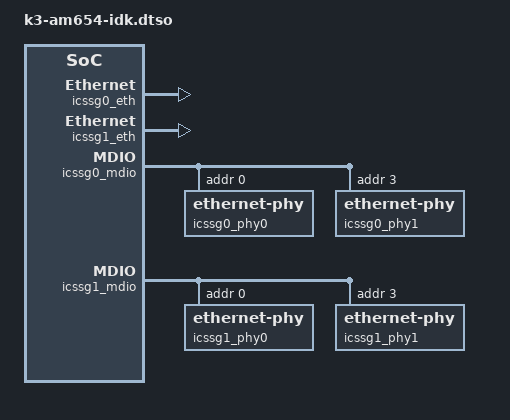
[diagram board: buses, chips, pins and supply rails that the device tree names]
// SPDX-License-Identifier: GPL-2.0
/**
 * DT overlay for IDK application board on AM654 EVM
 *
 * Copyright (C) 2018-2023 Texas Instruments Incorporated - https://www.ti.com/
 */

/dts-v1/;
/plugin/;

#include <dt-bindings/net/ti-dp83867.h>
#include "k3-pinctrl.h"

&{/} {
	aliases {
		ethernet3 = "/icssg0-eth/ethernet-ports/port@0";
		ethernet4 = "/icssg0-eth/ethernet-ports/port@1";
		ethernet5 = "/icssg1-eth/ethernet-ports/port@0";
		ethernet6 = "/icssg1-eth/ethernet-ports/port@1";
	};

	/* Ethernet node on PRU-ICSSG0 */
	icssg0_eth: icssg0-eth {
		compatible = "ti,am654-icssg-prueth";
		pinctrl-names = "default";
		pinctrl-0 = <&icssg0_rgmii_pins_default>;
		sram = <&msmc_ram>;
		ti,prus = <&pru0_0>, <&rtu0_0>, <&tx_pru0_0>, <&pru0_1>, <&rtu0_1>, <&tx_pru0_1>;
		firmware-name = "ti-pruss/am65x-sr2-pru0-prueth-fw.elf",
				"ti-pruss/am65x-sr2-rtu0-prueth-fw.elf",
				"ti-pruss/am65x-sr2-txpru0-prueth-fw.elf",
				"ti-pruss/am65x-sr2-pru1-prueth-fw.elf",
				"ti-pruss/am65x-sr2-rtu1-prueth-fw.elf",
				"ti-pruss/am65x-sr2-txpru1-prueth-fw.elf";

		ti,pruss-gp-mux-sel = <2>,	/* MII mode */
				      <2>,
				      <2>,
				      <2>,	/* MII mode */
				      <2>,
				      <2>;

		ti,mii-g-rt = <&icssg0_mii_g_rt>;
		ti,mii-rt = <&icssg0_mii_rt>;
		ti,iep = <&icssg0_iep0>,  <&icssg0_iep1>;

		interrupt-parent = <&icssg0_intc>;
		interrupts = <24 0 2>, <25 1 3>;
		interrupt-names = "tx_ts0", "tx_ts1";

		dmas = <&main_udmap 0xc100>, /* egress slice 0 */
		       <&main_udmap 0xc101>, /* egress slice 0 */
		       <&main_udmap 0xc102>, /* egress slice 0 */
		       <&main_udmap 0xc103>, /* egress slice 0 */
		       <&main_udmap 0xc104>, /* egress slice 1 */
		       <&main_udmap 0xc105>, /* egress slice 1 */
		       <&main_udmap 0xc106>, /* egress slice 1 */
		       <&main_udmap 0xc107>, /* egress slice 1 */

		       <&main_udmap 0x4100>, /* ingress slice 0 */
		       <&main_udmap 0x4101>, /* ingress slice 1 */
		       <&main_udmap 0x4102>, /* mgmnt rsp slice 0 */
		       <&main_udmap 0x4103>; /* mgmnt rsp slice 1 */
		dma-names = "tx0-0", "tx0-1", "tx0-2", "tx0-3",
			    "tx1-0", "tx1-1", "tx1-2", "tx1-3",
			    "rx0", "rx1";

		ethernet-ports {
			#address-cells = <1>;
			#size-cells = <0>;
			icssg0_emac0: port@0 {
				reg = <0>;
				phy-handle = <&icssg0_phy0>;
				phy-mode = "rgmii-id";
				ti,syscon-rgmii-delay = <&scm_conf 0x4100>;
				/* Filled in by bootloader */
				local-mac-address = [00 00 00 00 00 00];
			};
			icssg0_emac1: port@1 {
				reg = <1>;
				phy-handle = <&icssg0_phy1>;
				phy-mode = "rgmii-id";
				ti,syscon-rgmii-delay = <&scm_conf 0x4104>;
				/* Filled in by bootloader */
				local-mac-address = [00 00 00 00 00 00];
			};
		};
	};

	/* Ethernet node on PRU-ICSSG1 */
	icssg1_eth: icssg1-eth {
		compatible = "ti,am654-icssg-prueth";
		pinctrl-names = "default";
		pinctrl-0 = <&icssg1_rgmii_pins_default>;
		sram = <&msmc_ram>;
		ti,prus = <&pru1_0>, <&rtu1_0>, <&tx_pru1_0>, <&pru1_1>, <&rtu1_1>, <&tx_pru1_1>;
		firmware-name = "ti-pruss/am65x-sr2-pru0-prueth-fw.elf",
				"ti-pruss/am65x-sr2-rtu0-prueth-fw.elf",
				"ti-pruss/am65x-sr2-txpru0-prueth-fw.elf",
				"ti-pruss/am65x-sr2-pru1-prueth-fw.elf",
				"ti-pruss/am65x-sr2-rtu1-prueth-fw.elf",
				"ti-pruss/am65x-sr2-txpru1-prueth-fw.elf";

		ti,pruss-gp-mux-sel = <2>,	/* MII mode */
				      <2>,
				      <2>,
				      <2>,	/* MII mode */
				      <2>,
				      <2>;

		ti,mii-g-rt = <&icssg1_mii_g_rt>;
		ti,mii-rt = <&icssg1_mii_rt>;
		ti,iep = <&icssg1_iep0>,  <&icssg1_iep1>;

		interrupt-parent = <&icssg1_intc>;
		interrupts = <24 0 2>, <25 1 3>;
		interrupt-names = "tx_ts0", "tx_ts1";

		dmas = <&main_udmap 0xc200>, /* egress slice 0 */
		       <&main_udmap 0xc201>, /* egress slice 0 */
		       <&main_udmap 0xc202>, /* egress slice 0 */
		       <&main_udmap 0xc203>, /* egress slice 0 */
		       <&main_udmap 0xc204>, /* egress slice 1 */
		       <&main_udmap 0xc205>, /* egress slice 1 */
		       <&main_udmap 0xc206>, /* egress slice 1 */
		       <&main_udmap 0xc207>, /* egress slice 1 */

		       <&main_udmap 0x4200>, /* ingress slice 0 */
		       <&main_udmap 0x4201>, /* ingress slice 1 */
		       <&main_udmap 0x4202>, /* mgmnt rsp slice 0 */
		       <&main_udmap 0x4203>; /* mgmnt rsp slice 1 */
		dma-names = "tx0-0", "tx0-1", "tx0-2", "tx0-3",
			    "tx1-0", "tx1-1", "tx1-2", "tx1-3",
			    "rx0", "rx1";

		ethernet-ports {
			#address-cells = <1>;
			#size-cells = <0>;
			icssg1_emac0: port@0 {
				reg = <0>;
				phy-handle = <&icssg1_phy0>;
				phy-mode = "rgmii-id";
				ti,syscon-rgmii-delay = <&scm_conf 0x4110>;
				/* Filled in by bootloader */
				local-mac-address = [00 00 00 00 00 00];
			};
			icssg1_emac1: port@1 {
				reg = <1>;
				phy-handle = <&icssg1_phy1>;
				phy-mode = "rgmii-id";
				ti,syscon-rgmii-delay = <&scm_conf 0x4114>;
				/* Filled in by bootloader */
				local-mac-address = [00 00 00 00 00 00];
			};
		};
	};
};

&main_pmx0 {

	icssg0_mdio_pins_default: icssg0-mdio-default-pins {
		pinctrl-single,pins = <
			AM65X_IOPAD(0x0294, PIN_INPUT, 0) /* (AE26) PRG0_MDIO0_MDIO */
			AM65X_IOPAD(0x0298, PIN_OUTPUT, 0) /* (AE28) PRG0_MDIO0_MDC */
		>;
	};

	icssg0_rgmii_pins_default: icssg0-rgmii-default-pins {
		pinctrl-single,pins = <
			AM65X_IOPAD(0x0244, PIN_INPUT, 2) /* (AB28) PRG0_PRU1_GPO0.PRG0_RGMII2_RD0 */
			AM65X_IOPAD(0x0248, PIN_INPUT, 2) /* (AC28) PRG0_PRU1_GPO1.PRG0_RGMII2_RD1 */
			AM65X_IOPAD(0x024c, PIN_INPUT, 2) /* (AC27) PRG0_PRU1_GPO2.PRG0_RGMII2_RD2 */
			AM65X_IOPAD(0x0250, PIN_INPUT, 2) /* (AB26) PRG0_PRU1_GPO3.PRG0_RGMII2_RD3 */
			AM65X_IOPAD(0x0274, PIN_OUTPUT, 2) /* (AC25) PRG0_PRU1_GPO12.PRG0_RGMII2_TD0 */
			AM65X_IOPAD(0x0278, PIN_OUTPUT, 2) /* (AD25) PRG0_PRU1_GPO13.PRG0_RGMII2_TD1 */
			AM65X_IOPAD(0x027c, PIN_OUTPUT, 2) /* (AD24) PRG0_PRU1_GPO14.PRG0_RGMII2_TD2 */
			AM65X_IOPAD(0x0280, PIN_OUTPUT, 2) /* (AE27) PRG0_PRU1_GPO15.PRG0_RGMII2_TD3 */
			AM65X_IOPAD(0x0284, PIN_INPUT, 2) /* (AC24) PRG0_PRU1_GPO16.PRG0_RGMII2_TXC */
			AM65X_IOPAD(0x0270, PIN_OUTPUT, 2) /* (AB24) PRG0_PRU1_GPO11.PRG0_RGMII2_TX_CTL */
			AM65X_IOPAD(0x025c, PIN_INPUT, 2) /* (AB27) PRG0_PRU1_GPO6.PRG0_RGMII2_RXC */
			AM65X_IOPAD(0x0254, PIN_INPUT, 2) /* (AA25) PRG0_PRU1_GPO4.PRG0_RGMII2_RX_CTL */

			AM65X_IOPAD(0x01f4, PIN_INPUT, 2) /* (V24) PRG0_PRU0_GPO0.PRG0_RGMII1_RD0 */
			AM65X_IOPAD(0x01f8, PIN_INPUT, 2) /* (W25) PRG0_PRU0_GPO1.PRG0_RGMII1_RD1 */
			AM65X_IOPAD(0x01fc, PIN_INPUT, 2) /* (W24) PRG0_PRU0_GPO2.PRG0_RGMII1_RD2 */
			AM65X_IOPAD(0x0200, PIN_INPUT, 2) /* (AA27) PRG0_PRU0_GPO3.PRG0_RGMII1_RD3 */
			AM65X_IOPAD(0x0224, PIN_OUTPUT, 2) /* (AD27) PRG0_PRU0_GPO12.PRG0_RGMII1_TD0 */
			AM65X_IOPAD(0x0228, PIN_OUTPUT, 2) /* (AC26) PRG0_PRU0_GPO13.PRG0_RGMII1_TD1 */
			AM65X_IOPAD(0x022c, PIN_OUTPUT, 2) /* (AD26) PRG0_PRU0_GPO14.PRG0_RGMII1_TD2 */
			AM65X_IOPAD(0x0230, PIN_OUTPUT, 2) /* (AA24) PRG0_PRU0_GPO15.PRG0_RGMII1_TD3 */
			AM65X_IOPAD(0x0234, PIN_INPUT, 2) /* (AD28) PRG0_PRU0_GPO16.PRG0_RGMII1_TXC */
			AM65X_IOPAD(0x0220, PIN_OUTPUT, 2) /* (AB25) PRG0_PRU0_GPO11.PRG0_RGMII1_TX_CTL */
			AM65X_IOPAD(0x020c, PIN_INPUT, 2) /* (Y25) PRG0_PRU0_GPO6.PRG0_RGMII1_RXC */
			AM65X_IOPAD(0x0204, PIN_INPUT, 2) /* (Y24) PRG0_PRU0_GPO4.PRG0_RGMII1_RX_CTL */
		>;
	};

	icssg0_iep0_pins_default: icssg0-iep0-default-pins {
		pinctrl-single,pins = <
			AM65X_IOPAD(0x0240, PIN_INPUT, 2) /* (U24) PRG0_PRU0_GPO19.PRG0_IEP0_EDC_SYNC_OUT0 */
		>;
	};

	icssg1_mdio_pins_default: icssg1-mdio-default-pins {
		pinctrl-single,pins = <
			AM65X_IOPAD(0x0180, PIN_INPUT, 0) /* (AD18) PRG1_MDIO0_MDIO */
			AM65X_IOPAD(0x0184, PIN_OUTPUT, 0) /* (AH18) PRG1_MDIO0_MDC */
		>;
	};

	icssg1_rgmii_pins_default: icssg1-rgmii-default-pins {
		pinctrl-single,pins = <
			AM65X_IOPAD(0x0130, PIN_INPUT, 2) /* (AH24) PRG1_PRU1_GPO0.PRG1_RGMII2_RD0 */
			AM65X_IOPAD(0x0134, PIN_INPUT, 2) /* (AH23) PRG1_PRU1_GPO1.PRG1_RGMII2_RD1 */
			AM65X_IOPAD(0x0138, PIN_INPUT, 2) /* (AG21) PRG1_PRU1_GPO2.PRG1_RGMII2_RD2 */
			AM65X_IOPAD(0x013c, PIN_INPUT, 2) /* (AH22) PRG1_PRU1_GPO3.PRG1_RGMII2_RD3 */
			AM65X_IOPAD(0x0160, PIN_OUTPUT, 2) /* (AE20) PRG1_PRU1_GPO12.PRG1_RGMII2_TD0 */
			AM65X_IOPAD(0x0164, PIN_OUTPUT, 2) /* (AF19) PRG1_PRU1_GPO13.PRG1_RGMII2_TD1 */
			AM65X_IOPAD(0x0168, PIN_OUTPUT, 2) /* (AH19) PRG1_PRU1_GPO14.PRG1_RGMII2_TD2 */
			AM65X_IOPAD(0x016c, PIN_OUTPUT, 2) /* (AG19) PRG1_PRU1_GPO15.PRG1_RGMII2_TD3 */
			AM65X_IOPAD(0x0170, PIN_INPUT, 2) /* (AE19) PRG1_PRU1_GPO16.PRG1_RGMII2_TXC */
			AM65X_IOPAD(0x015c, PIN_OUTPUT, 2) /* (AC20) PRG1_PRU1_GPO11.PRG1_RGMII2_TX_CTL */
			AM65X_IOPAD(0x0148, PIN_INPUT, 2) /* (AG22) PRG1_PRU1_GPO6.PRG1_RGMII2_RXC */
			AM65X_IOPAD(0x0140, PIN_INPUT, 2) /* (AE21) PRG1_PRU1_GPO4.PRG1_RGMII2_RX_CTL */

			AM65X_IOPAD(0x00e0, PIN_INPUT, 2) /* (AE22) PRG1_PRU0_GPO0.PRG1_RGMII1_RD0 */
			AM65X_IOPAD(0x00e4, PIN_INPUT, 2) /* (AG24) PRG1_PRU0_GPO1.PRG1_RGMII1_RD1 */
			AM65X_IOPAD(0x00e8, PIN_INPUT, 2) /* (AF23) PRG1_PRU0_GPO2.PRG1_RGMII1_RD2 */
			AM65X_IOPAD(0x00ec, PIN_INPUT, 2) /* (AD21) PRG1_PRU0_GPO3.PRG1_RGMII1_RD3 */
			AM65X_IOPAD(0x0110, PIN_OUTPUT, 2) /* (AH20) PRG1_PRU0_GPO12.PRG1_RGMII1_TD0 */
			AM65X_IOPAD(0x0114, PIN_OUTPUT, 2) /* (AH21) PRG1_PRU0_GPO13.PRG1_RGMII1_TD1 */
			AM65X_IOPAD(0x0118, PIN_OUTPUT, 2) /* (AG20) PRG1_PRU0_GPO14.PRG1_RGMII1_TD2 */
			AM65X_IOPAD(0x011c, PIN_OUTPUT, 2) /* (AD19) PRG1_PRU0_GPO15.PRG1_RGMII1_TD3 */
			AM65X_IOPAD(0x0120, PIN_INPUT, 2) /* (AD20) PRG1_PRU0_GPO16.PRG1_RGMII1_TXC */
			AM65X_IOPAD(0x010c, PIN_OUTPUT, 2) /* (AF21) PRG1_PRU0_GPO11.PRG1_RGMII1_TX_CTL */
			AM65X_IOPAD(0x00f8, PIN_INPUT, 2) /* (AF22) PRG1_PRU0_GPO6.PRG1_RGMII1_RXC */
			AM65X_IOPAD(0x00f0, PIN_INPUT, 2) /* (AG23) PRG1_PRU0_GPO4.PRG1_RGMII1_RX_CTL */
		>;
	};

	icssg1_iep0_pins_default: icssg1-iep0-default-pins {
		pinctrl-single,pins = <
			AM65X_IOPAD(0x012c, PIN_INPUT, 2) /* (AG26) PRG1_PRU0_GPO19.PRG1_IEP0_EDC_SYNC_OUT0 */
		>;
	};
};

&icssg0_mdio {
	status = "okay";
	pinctrl-names = "default";
	pinctrl-0 = <&icssg0_mdio_pins_default>;
	#address-cells = <1>;
	#size-cells = <0>;

	icssg0_phy0: ethernet-phy@0 {
		reg = <0>;
		ti,rx-internal-delay = <DP83867_RGMIIDCTL_2_00_NS>;
		ti,fifo-depth = <DP83867_PHYCR_FIFO_DEPTH_4_B_NIB>;
	};

	icssg0_phy1: ethernet-phy@3 {
		reg = <3>;
		ti,rx-internal-delay = <DP83867_RGMIIDCTL_2_00_NS>;
		ti,fifo-depth = <DP83867_PHYCR_FIFO_DEPTH_4_B_NIB>;
	};
};

&icssg0_iep0 {
	pinctrl-names = "default";
	pinctrl-0 = <&icssg0_iep0_pins_default>;
};

&icssg1_mdio {
	status = "okay";
	pinctrl-names = "default";
	pinctrl-0 = <&icssg1_mdio_pins_default>;
	#address-cells = <1>;
	#size-cells = <0>;

	icssg1_phy0: ethernet-phy@0 {
		reg = <0>;
		ti,rx-internal-delay = <DP83867_RGMIIDCTL_2_00_NS>;
		ti,fifo-depth = <DP83867_PHYCR_FIFO_DEPTH_4_B_NIB>;
	};

	icssg1_phy1: ethernet-phy@3 {
		reg = <3>;
		ti,rx-internal-delay = <DP83867_RGMIIDCTL_2_00_NS>;
		ti,fifo-depth = <DP83867_PHYCR_FIFO_DEPTH_4_B_NIB>;
	};
};

&icssg1_iep0 {
	pinctrl-names = "default";
	pinctrl-0 = <&icssg1_iep0_pins_default>;
};
